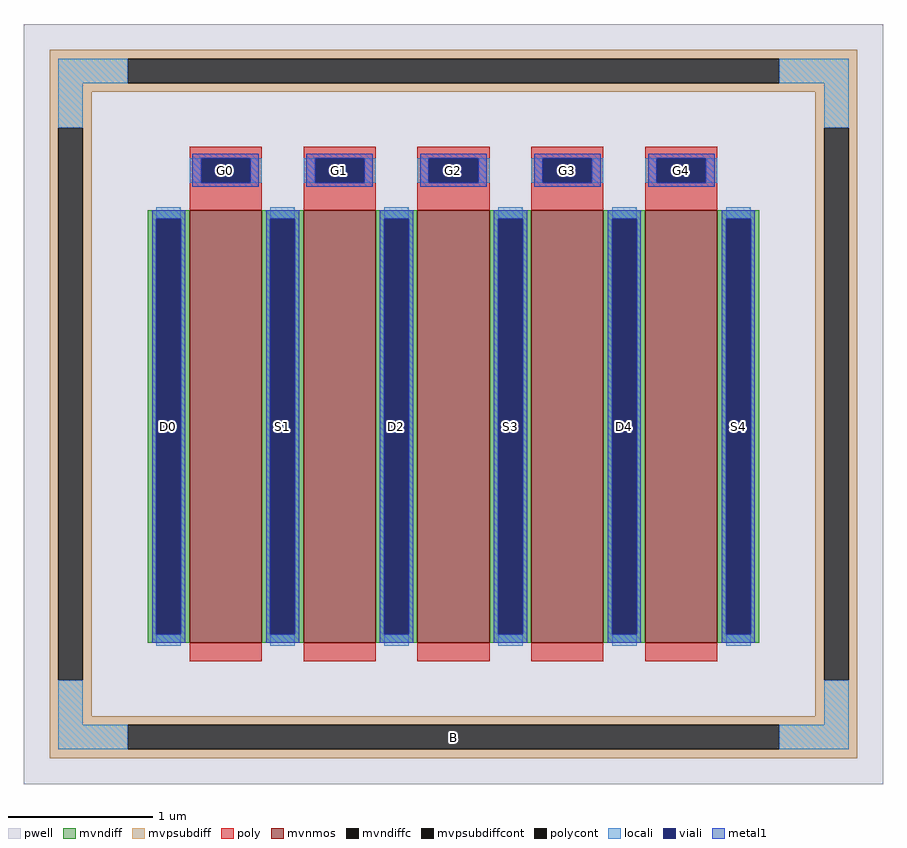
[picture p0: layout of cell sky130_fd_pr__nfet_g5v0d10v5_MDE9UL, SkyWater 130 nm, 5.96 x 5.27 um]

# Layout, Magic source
magic
tech sky130A
magscale 1 2
<< pwell >>
rect -596 -527 596 527
<< mvnmos >>
rect -366 -331 -266 269
rect -208 -331 -108 269
rect -50 -331 50 269
rect 108 -331 208 269
rect 266 -331 366 269
<< mvndiff >>
rect -424 257 -366 269
rect -424 -319 -412 257
rect -378 -319 -366 257
rect -424 -331 -366 -319
rect -266 257 -208 269
rect -266 -319 -254 257
rect -220 -319 -208 257
rect -266 -331 -208 -319
rect -108 257 -50 269
rect -108 -319 -96 257
rect -62 -319 -50 257
rect -108 -331 -50 -319
rect 50 257 108 269
rect 50 -319 62 257
rect 96 -319 108 257
rect 50 -331 108 -319
rect 208 257 266 269
rect 208 -319 220 257
rect 254 -319 266 257
rect 208 -331 266 -319
rect 366 257 424 269
rect 366 -319 378 257
rect 412 -319 424 257
rect 366 -331 424 -319
<< mvndiffc >>
rect -412 -319 -378 257
rect -254 -319 -220 257
rect -96 -319 -62 257
rect 62 -319 96 257
rect 220 -319 254 257
rect 378 -319 412 257
<< mvpsubdiff >>
rect -560 479 560 491
rect -560 445 -452 479
rect 452 445 560 479
rect -560 433 560 445
rect -560 383 -502 433
rect -560 -383 -548 383
rect -514 -383 -502 383
rect 502 383 560 433
rect -560 -433 -502 -383
rect 502 -383 514 383
rect 548 -383 560 383
rect 502 -433 560 -383
rect -560 -445 560 -433
rect -560 -479 -452 -445
rect 452 -479 560 -445
rect -560 -491 560 -479
<< mvpsubdiffcont >>
rect -452 445 452 479
rect -548 -383 -514 383
rect 514 -383 548 383
rect -452 -479 452 -445
<< poly >>
rect -366 341 -266 357
rect -366 307 -350 341
rect -282 307 -266 341
rect -366 269 -266 307
rect -208 341 -108 357
rect -208 307 -192 341
rect -124 307 -108 341
rect -208 269 -108 307
rect -50 341 50 357
rect -50 307 -34 341
rect 34 307 50 341
rect -50 269 50 307
rect 108 341 208 357
rect 108 307 124 341
rect 192 307 208 341
rect 108 269 208 307
rect 266 341 366 357
rect 266 307 282 341
rect 350 307 366 341
rect 266 269 366 307
rect -366 -357 -266 -331
rect -208 -357 -108 -331
rect -50 -357 50 -331
rect 108 -357 208 -331
rect 266 -357 366 -331
<< polycont >>
rect -350 307 -282 341
rect -192 307 -124 341
rect -34 307 34 341
rect 124 307 192 341
rect 282 307 350 341
<< locali >>
rect -548 445 -452 479
rect 452 445 548 479
rect -548 383 -514 445
rect 514 383 548 445
rect -366 307 -350 341
rect -282 307 -266 341
rect -208 307 -192 341
rect -124 307 -108 341
rect -50 307 -34 341
rect 34 307 50 341
rect 108 307 124 341
rect 192 307 208 341
rect 266 307 282 341
rect 350 307 366 341
rect -412 257 -378 273
rect -412 -335 -378 -319
rect -254 257 -220 273
rect -254 -335 -220 -319
rect -96 257 -62 273
rect -96 -335 -62 -319
rect 62 257 96 273
rect 62 -335 96 -319
rect 220 257 254 273
rect 220 -335 254 -319
rect 378 257 412 273
rect 378 -335 412 -319
rect -548 -445 -514 -383
rect 514 -445 548 -383
rect -548 -479 -452 -445
rect 452 -479 548 -445
<< viali >>
rect -350 307 -282 341
rect -192 307 -124 341
rect -34 307 34 341
rect 124 307 192 341
rect 282 307 350 341
rect -412 -319 -378 257
rect -254 -319 -220 257
rect -96 -319 -62 257
rect 62 -319 96 257
rect 220 -319 254 257
rect 378 -319 412 257
<< metal1 >>
rect -362 341 -270 347
rect -362 307 -350 341
rect -282 307 -270 341
rect -362 301 -270 307
rect -204 341 -112 347
rect -204 307 -192 341
rect -124 307 -112 341
rect -204 301 -112 307
rect -46 341 46 347
rect -46 307 -34 341
rect 34 307 46 341
rect -46 301 46 307
rect 112 341 204 347
rect 112 307 124 341
rect 192 307 204 341
rect 112 301 204 307
rect 270 341 362 347
rect 270 307 282 341
rect 350 307 362 341
rect 270 301 362 307
rect -418 257 -372 269
rect -418 -319 -412 257
rect -378 -319 -372 257
rect -418 -331 -372 -319
rect -260 257 -214 269
rect -260 -319 -254 257
rect -220 -319 -214 257
rect -260 -331 -214 -319
rect -102 257 -56 269
rect -102 -319 -96 257
rect -62 -319 -56 257
rect -102 -331 -56 -319
rect 56 257 102 269
rect 56 -319 62 257
rect 96 -319 102 257
rect 56 -331 102 -319
rect 214 257 260 269
rect 214 -319 220 257
rect 254 -319 260 257
rect 214 -331 260 -319
rect 372 257 418 269
rect 372 -319 378 257
rect 412 -319 418 257
rect 372 -331 418 -319
<< labels >>
rlabel mvpsubdiffcont 0 -462 0 -462 0 B
port 1 nsew
rlabel mvndiffc -395 -31 -395 -31 0 D0
port 2 nsew
rlabel polycont -316 324 -316 324 0 G0
port 3 nsew
rlabel mvndiffc -237 -31 -237 -31 0 S1
port 4 nsew
rlabel polycont -158 324 -158 324 0 G1
port 5 nsew
rlabel mvndiffc -79 -31 -79 -31 0 D2
port 6 nsew
rlabel polycont 0 324 0 324 0 G2
port 7 nsew
rlabel mvndiffc 79 -31 79 -31 0 S3
port 8 nsew
rlabel polycont 158 324 158 324 0 G3
port 9 nsew
rlabel mvndiffc 237 -31 237 -31 0 D4
port 10 nsew
rlabel mvndiffc 395 -31 395 -31 0 S4
port 11 nsew
rlabel polycont 316 324 316 324 0 G4
port 12 nsew
<< properties >>
string FIXED_BBOX -531 -462 531 462
string gencell sky130_fd_pr__nfet_g5v0d10v5
string library sky130
string parameters w 3.0 l 0.5 m 1 nf 5 diffcov 100 polycov 100 guard 1 glc 1 grc 1 gtc 1 gbc 1 tbcov 100 rlcov 100 topc 1 botc 0 poverlap 0 doverlap 1 lmin 0.50 wmin 0.42 class mosfet compatible {sky130_fd_pr__nfet_01v8 sky130_fd_pr__nfet_01v8_lvt  sky130_fd_bs_flash__special_sonosfet_star  sky130_fd_pr__nfet_g5v0d10v5 sky130_fd_pr__nfet_05v0_nvt  sky130_fd_pr__nfet_03v3_nvt} full_metal 1 conn_gates 0 viasrc 100 viadrn 100 viagate 100 viagb 0 viagr 0 viagl 0 viagt 0 doports 1
<< end >>
